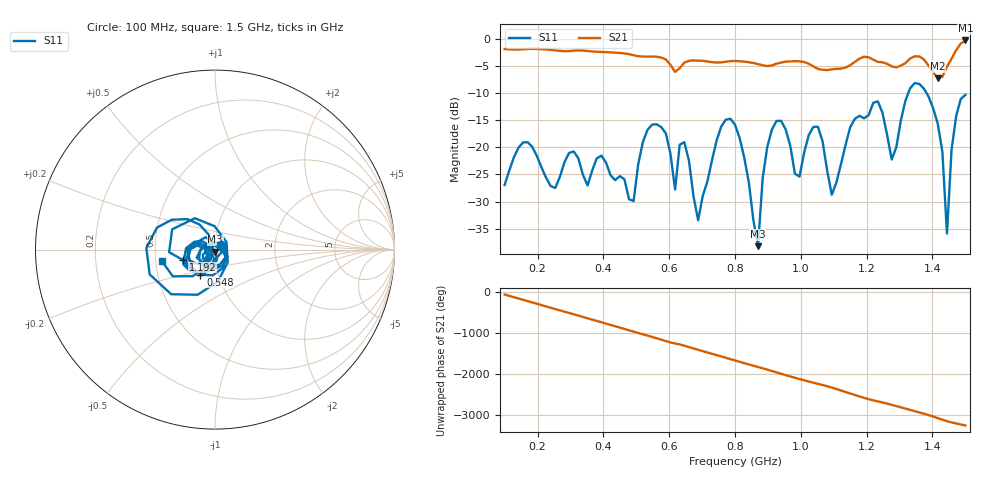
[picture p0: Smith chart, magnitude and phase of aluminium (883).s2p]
! NanoVNA-App
! Date: 2025-09-25 15:02:09
! Start: 100MHz Stop: 1,5GHz Points: 101
! S-Parameter data: F S11 S21 S12 S22
# Hz S RI R 50
!  Frequency  S11_Real  S11_Imag  S21_Real  S21_Imag  S12_Real  S12_Imag  S22_Real  S22_Imag
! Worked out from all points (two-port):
!   101 points, 100 MHz to 1.5 GHz, reference 50 ohm
!   highest |S21| = -0.35 dB at 1.5 GHz (marker M1); lowest = -7.3 dB at 1.416 GHz (marker M2)
!   |S21| within 3 dB of the highest: start of sweep to 562.2 MHz; 1.461 GHz to end of sweep (the widest 2 of 4)
!   lowest |S11| = -38.2 dB at 870 MHz (marker M3), VSWR 1.02, Z = 50.1 - j1.23 ohm
!   |S11| at or under -10 dB: start of sweep to 1.327 GHz; 1.382 GHz to end of sweep
!   S12 and S22 are empty: the file has one direction only
!   S11 on the Smith chart (normalised r, x): 100 MHz: 1.07, +0.06; 548 MHz: 0.82, -0.23; 1.192 GHz: 0.70, -0.08; 1.5 GHz: 0.54, -0.07
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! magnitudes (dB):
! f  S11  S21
! 100 MHz  -27.0  -1.9
! 156 MHz  -19.1  -2.0
! 338 MHz  -25.1  -2.2
! 492 MHz  -29.9  -3.1
! 548 MHz  -15.8  -3.3
! 576 MHz  -16.3  -3.5
! 618 MHz  -27.8  -6.1
! 646 MHz  -19.1  -4.4
! 688 MHz  -33.4  -4.1
! 800 MHz  -15.9  -4.1
! 870 MHz  -38.2  -4.7
! 912 MHz  -16.8  -5.0
! 996 MHz  -25.4  -4.2
! 1.038 GHz  -16.3  -5.1
! 1.094 GHz  -28.7  -5.7
! 1.192 GHz  -14.7  -3.3
! 1.276 GHz  -22.3  -5.1
! 1.346 GHz  -8.2  -3.3
! 1.416 GHz  -15.7  -7.3
! 1.444 GHz  -35.9  -5.2
! 1.458 GHz  -20.5  -3.7
! 1.5 GHz  -10.4  -0.3
